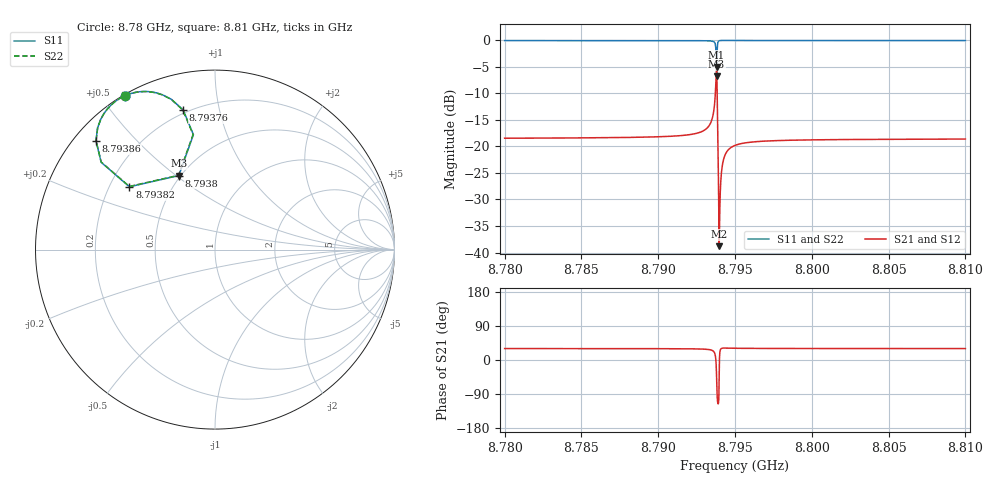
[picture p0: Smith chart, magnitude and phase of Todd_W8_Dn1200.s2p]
! Sonnet Data File
! From: emgraph Version : 16.52
! From Project: transmon_brgOdd
! Data is De-embedded
! Data File Written: 11/12/2017 17:05:32
!< HDATE 11/11/2017 22:57:51
!< MDATE 11/11/2017 22:57:51
!< PARAMS
!< Lj = 15.24
!< Gap = 6.0
!< Width = 10.0
!< Airgap = 6.0
!< Pwidth = 2000.0
!< Dist = 1200.0
!< END PARAMS
# GHZ S MA R 34.67000
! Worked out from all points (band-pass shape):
!   3001 points, 8.78 GHz to 8.81 GHz, reference 34.67 ohm
!   highest |S21| = -5.11 dB at 8.7938 GHz (marker M1); lowest = -38.8 dB at 8.79397 GHz (marker M2)
!   |S21| within 3 dB of the highest: 8.793751 GHz to 8.793829 GHz (77.95 kHz wide, 0.000886 % of centre)
!   lowest |S11| = -6.8 dB at 8.7938 GHz (marker M3), VSWR 2.70, Z = 17 + j17.7 ohm
!   |S11| at or under -10 dB: nowhere
!   |S22| runs from -6.7 to 0.0 dB; largest |S21 - S12| = 0
!   S11 on the Smith chart (normalised r, x): 8.78 GHz: 0.00, +0.58; 8.79376 GHz: 0.18, +0.78; 8.7938 GHz: 0.49, +0.51; 8.79382 GHz: 0.28, +0.30; 8.79386 GHz: 0.06, +0.39; 8.81 GHz: 0.00, +0.58
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8.78  0.9928 120.2  0.1194 30.2  0.1194 30.2  0.9928 120.2
!< P1 F=8.78 Eeff=(5.13743391 -5.7017e-5) Z0=(34.6430374 -9.7216e-5) R=0.0 C=0.0
!< P2 F=8.78 Eeff=(5.13743391 -5.7017e-5) Z0=(34.6430374 -9.7216e-5) R=0.0 C=0.0
8.785  0.9927 120.1  0.1203 30.1  0.1203 30.1  0.9927 120.1
8.79  0.9924 119.9  0.1232 29.9  0.1232 29.9  0.9924 119.9
8.79299  0.9894 118.8  0.1416 28.6  0.1416 28.6  0.9894 118.8
8.79338  0.9849 117.6  0.1627 27.0  0.1627 27.0  0.9849 117.6
8.79359  0.9722 115.2  0.2043 23.3  0.2043 23.3  0.9723 115.2
8.79365  0.9593 113.3  0.2351 20.3  0.2351 20.3  0.9594 113.4
8.79369  0.9403 111.2  0.2711 16.5  0.2711 16.5  0.9404 111.3
8.79376  0.7985 102.9  0.4232 -2.8  0.4232 -2.8  0.7989 103.0
8.7938  0.4591 116.0  0.5549 -44.0  0.5549 -44.0  0.4611 116.1
8.79382  0.5914 143.7  0.4651 -74.5  0.4651 -74.5  0.5928 143.6
8.79386  0.8985 137.6  0.2021 -107.8  0.2021 -107.8  0.8988 137.5
8.79393  0.9801 128.9  0.03853 -111.0  0.03853 -111.0  0.9802 128.9
8.79397  0.9887 126.8  0.01148 -42.8  0.01148 -42.8  0.9887 126.8
8.79402  0.9929 125.3  0.02942 22.1  0.02942 22.1  0.9929 125.3
8.79407  0.9945 124.3  0.04564 28.8  0.04564 28.8  0.9945 124.4
8.79419  0.9956 123.0  0.06814 31.3  0.06814 31.3  0.9956 123.1
8.79433  0.9955 122.3  0.08151 31.5  0.08151 31.5  0.9955 122.3
8.795  0.9945 121.1  0.1022 31.0  0.1022 31.0  0.9945 121.1
8.8  0.9933 120.3  0.1152 30.3  0.1152 30.3  0.9933 120.3
8.805  0.9932 120.2  0.1167 30.2  0.1167 30.2  0.9932 120.2
8.81  0.9931 120.1  0.1173 30.1  0.1173 30.1  0.9931 120.1
